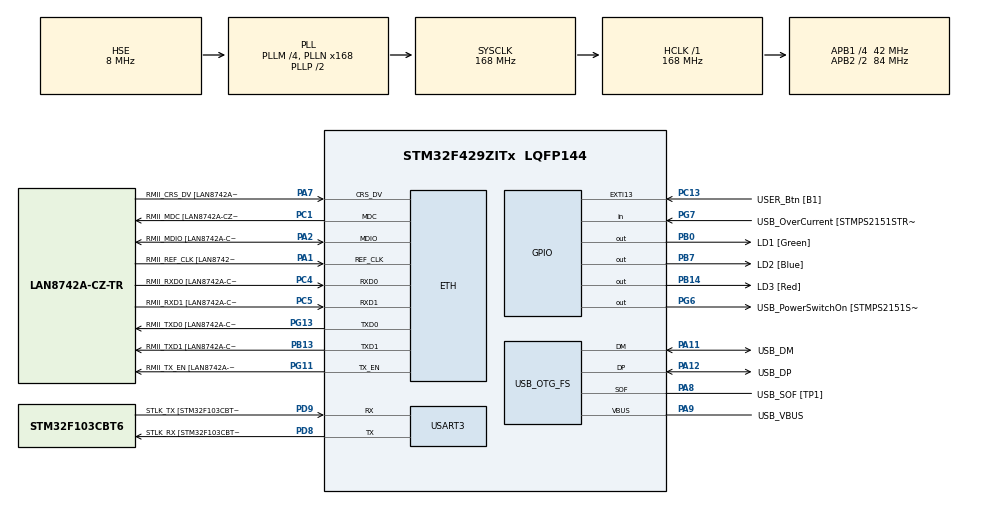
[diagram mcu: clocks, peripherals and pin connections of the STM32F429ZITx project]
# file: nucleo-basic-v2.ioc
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ETH.MACAddr=B0\:41\:9B\:F3\:1D\:7E
ETH.MediaInterface=ETH_MEDIA_INTERFACE_RMII
ETH.PHY_Name=LAN8742A_PHY_ADDRESS
ETH.PHY_Value=0
ETH.PhyAddress=0
FATFS._MAX_LFN=32
FATFS._STRF_ENCODE=0
FATFS._USE_LFN=2
FREERTOS.Tasks01=defaultTask,0,2048,StartDefaultTask,Default,NULL,Dynamic,NULL,NULL
FREERTOS.configTOTAL_HEAP_SIZE=32768
FREERTOS.configUSE_NEWLIB_REENTRANT=1
LWIP.Version=v2.1.2_Cube
Mcu.Family=STM32F4
Mcu.Name=STM32F429ZITx
Mcu.Package=LQFP144
NVIC.ETH_IRQn=true\:5\:0\:false\:false\:true\:true\:false\:true
NVIC.OTG_FS_IRQn=true\:5\:0\:false\:false\:true\:true\:false\:true
NVIC.PriorityGroup=NVIC_PRIORITYGROUP_4
NVIC.TIM6_DAC_IRQn=true\:15\:0\:false\:false\:true\:false\:false\:true
NVIC.TimeBase=TIM6_DAC_IRQn
NVIC.TimeBaseIP=TIM6
PA1.GPIO_Label=RMII_REF_CLK [LAN8742A-CZ-TR_REFCLK0]
PA1.Mode=RMII
PA1.Signal=ETH_REF_CLK
PA10.GPIO_Label=USB_ID
PA10.Signal=USB_OTG_FS_ID
PA11.GPIO_Label=USB_DM
PA11.Mode=Host_Only
PA11.Signal=USB_OTG_FS_DM
PA12.GPIO_Label=USB_DP
PA12.Mode=Host_Only
PA12.Signal=USB_OTG_FS_DP
PA13.GPIO_Label=TMS
PA13.Mode=Serial_Wire
PA13.Signal=SYS_JTMS-SWDIO
PA14.GPIO_Label=TCK
PA14.Mode=Serial_Wire
PA14.Signal=SYS_JTCK-SWCLK
PA2.GPIO_Label=RMII_MDIO [LAN8742A-CZ-TR_MDIO]
PA2.Mode=RMII
PA2.Signal=ETH_MDIO
PA7.GPIO_Label=RMII_CRS_DV [LAN8742A-CZ-TR_CRS_DV]
PA7.Mode=RMII
PA7.Signal=ETH_CRS_DV
PA8.GPIO_Label=USB_SOF [TP1]
PA8.Mode=Activate_SOF_FS
PA8.Signal=USB_OTG_FS_SOF
PA9.GPIO_Label=USB_VBUS
PA9.Mode=Activate_VBUS
PA9.Signal=USB_OTG_FS_VBUS
PB0.GPIO_Label=LD1 [Green]
PB0.Signal=GPIO_Output
PB13.GPIO_Label=RMII_TXD1 [LAN8742A-CZ-TR_TXD1]
PB13.Mode=RMII
PB13.Signal=ETH_TXD1
PB14.GPIO_Label=LD3 [Red]
PB14.Signal=GPIO_Output
PB7.GPIO_Label=LD2 [Blue]
PB7.Signal=GPIO_Output
PC1.GPIO_Label=RMII_MDC [LAN8742A-CZ-TR_MDC]
PC1.Mode=RMII
PC1.Signal=ETH_MDC
PC13.GPIO_Label=USER_Btn [B1]
PC13.Signal=GPXTI13
PC14/OSC32_IN.Mode=LSE-External-Oscillator
PC14/OSC32_IN.Signal=RCC_OSC32_IN
PC15/OSC32_OUT.Mode=LSE-External-Oscillator
PC15/OSC32_OUT.Signal=RCC_OSC32_OUT
PC4.GPIO_Label=RMII_RXD0 [LAN8742A-CZ-TR_RXD0]
PC4.Mode=RMII
PC4.Signal=ETH_RXD0
PC5.GPIO_Label=RMII_RXD1 [LAN8742A-CZ-TR_RXD1]
PC5.Mode=RMII
PC5.Signal=ETH_RXD1
PD8.GPIO_Label=STLK_RX [STM32F103CBT6_PA3]
PD8.Mode=Asynchronous
PD8.Signal=USART3_TX
PD9.GPIO_Label=STLK_TX [STM32F103CBT6_PA2]
PD9.Mode=Asynchronous
PD9.Signal=USART3_RX
PG11.GPIO_Label=RMII_TX_EN [LAN8742A-CZ-TR_TXEN]
PG11.Mode=RMII
PG11.Signal=ETH_TX_EN
PG13.GPIO_Label=RMII_TXD0 [LAN8742A-CZ-TR_TXD0]
PG13.Mode=RMII
PG13.Signal=ETH_TXD0
PG6.GPIO_Label=USB_PowerSwitchOn [STMPS2151STR_EN]
PG6.Signal=GPIO_Output
PG7.GPIO_Label=USB_OverCurrent [STMPS2151STR_FAULT]
PG7.Signal=GPIO_Input
PH0/OSC_IN.GPIO_Label=MCO [STM32F103CBT6_PA8]
PH0/OSC_IN.Mode=HSE-External-Clock-Source
PH0/OSC_IN.Signal=RCC_OSC_IN
PH1/OSC_OUT.Mode=HSE-External-Clock-Source
PH1/OSC_OUT.Signal=RCC_OSC_OUT
ProjectManager.HeapSize=0x200
ProjectManager.StackSize=0x400
ProjectManager.TargetToolchain=STM32CubeIDE
RCC.48MHZClocksFreq_Value=48000000
RCC.AHBFreq_Value=168000000
RCC.APB1CLKDivider=RCC_HCLK_DIV4
RCC.APB1Freq_Value=42000000
RCC.APB1TimFreq_Value=84000000
RCC.APB2CLKDivider=RCC_HCLK_DIV2
RCC.APB2Freq_Value=84000000
RCC.APB2TimCLKDivider=2
RCC.APB2TimFreq_Value=168000000
RCC.CortexFreq_Value=168000000
RCC.HCLKFreq_Value=168000000
RCC.HSE_VALUE=8000000
RCC.HSI_VALUE=16000000
RCC.PLLM=4
RCC.PLLMUL=RCC_PLL_MUL9
RCC.PLLN=168
RCC.PLLQ=7
RCC.PRESCALERUSB=RCC_USBCLKSOURCE_PLL_DIV1_5
RCC.SYSCLKFreq_VALUE=168000000
RCC.SYSCLKSource=RCC_SYSCLKSOURCE_PLLCLK
RCC.SYSCLKSourceVirtual=RCC_SYSCLKSOURCE_PLLCLK
RCC.USBFreq_Value=48000000
RCC.VCOOutputFreq_Value=336000000
USART3.VirtualMode=VM_ASYNC
USB_HOST.BSP.number=1
USB_HOST.USBH_DEBUG_LEVEL-MSC_FS=3
USB_HOST.USBH_HandleTypeDef-MSC_FS=hUsbHostFS
USB_HOST.VirtualModeFS=Msc
USB_HOST0.BSP.STBoard=false
USB_HOST0.BSP.api=Unknown
USB_HOST0.BSP.i2caddr=0
USB_HOST0.BSP.instance=PG6
USB_HOST0.BSP.ip=GPIO
USB_HOST0.BSP.mode=Output
USB_HOST0.BSP.name=Drive_VBUS_FS
USB_HOST0.BSP.solution=PG6
USB_OTG_FS.VirtualMode=Host_Only
USB_OTG_FS.phy_itface=HCD_PHY_EMBEDDED
VP_FATFS_VS_USB.Mode=USB
VP_FREERTOS_VS_CMSIS_V1.Mode=CMSIS_V1
VP_LWIP_VS_Enabled.Mode=Enabled
VP_SYS_VS_tim6.Mode=TIM6
VP_USB_HOST_VS_USB_HOST_MSC_FS.Mode=MSC_FS
board=NUCLEO-F429ZI

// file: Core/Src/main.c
/* USER CODE BEGIN Header */
/**
  ******************************************************************************
  * @file           : main.c
  * @brief          : Main program body
  ******************************************************************************
  * @attention
  *
  * <h2><center>&copy; Copyright (c) 2021 STMicroelectronics.
  * All rights reserved.</center></h2>
  *
  * This software component is licensed by ST under Ultimate Liberty license
  * SLA0044, the "License"; You may not use this file except in compliance with
  * the License. You may obtain a copy of the License at:
  *                             www.st.com/SLA0044
  *
  ******************************************************************************
  */
/* USER CODE END Header */
#include "main.h"
#include "cmsis_os.h"
#include "fatfs.h"
#include "lwip.h"
#include "usb_host.h"
#include "usb_host.h"

/* USER CODE BEGIN Includes */
#include "dbgu.h"
#include "term_io.h"
#include "ansi.h"
//#include "usbh_platform.h"
/* USER CODE END Includes */

UART_HandleTypeDef huart3;

osThreadId defaultTaskHandle;

void SystemClock_Config(void);
static void MX_GPIO_Init(void);
static void MX_USART3_UART_Init(void);
void StartDefaultTask(void const * argument);

/* USER CODE BEGIN 0 */
// 10.1 Modyfikacje w Src/main.c
extern ApplicationTypeDef Appli_state;

// Obserwacja zawartości rejestrów
int foo(int a, int b)
{
int c;
c=a+b;
return c;
}

/* USER CODE END 0 */

int main(void)
{

  /* MCU Configuration--------------------------------------------------------*/

  /* Reset of all peripherals, Initializes the Flash interface and the Systick. */
  HAL_Init();

  /* Configure the system clock */
  SystemClock_Config();

  /* Initialize all configured peripherals */
  MX_GPIO_Init();
  MX_USART3_UART_Init();
  MX_FATFS_Init();
  /* USER CODE BEGIN 2 */
  debug_init(&huart3);
  xprintf(ANSI_BG_BLUE "Nucleo-144 project" ANSI_BG_DEFAULT "\n");
  printf("Zwykly printf tez dziala\n");

// Obserwacja zawartości rejestrów
//   int a=10;
//   int b=25;
//   while(1)
//   {
//   xprintf("a=%d, b=%d\n",a,b);
//   int res = foo(a,b);
//   a++;
//   b--;
//   xprintf("res=%2d\n",res);
//   HAL_Delay(1000);
//   }
  // END OF Obserwacja zawartości rejestrów
  /* USER CODE END 2 */

  /* Create the thread(s) */
  /* definition and creation of defaultTask */
  osThreadDef(defaultTask, StartDefaultTask, osPriorityNormal, 0, 2048);
  defaultTaskHandle = osThreadCreate(osThread(defaultTask), NULL);

  /* Start scheduler */
  osKernelStart();

  /* We should never get here as control is now taken by the scheduler */
  /* Infinite loop */
  while (1)
  {

  }
}

void SystemClock_Config(void)
{
  RCC_OscInitTypeDef RCC_OscInitStruct = {0};
  RCC_ClkInitTypeDef RCC_ClkInitStruct = {0};

  /** Configure the main internal regulator output voltage
  */
  __HAL_RCC_PWR_CLK_ENABLE();
  __HAL_PWR_VOLTAGESCALING_CONFIG(PWR_REGULATOR_VOLTAGE_SCALE1);
  /** Initializes the RCC Oscillators according to the specified parameters
  * in the RCC_OscInitTypeDef structure.
  */
  RCC_OscInitStruct.OscillatorType = RCC_OSCILLATORTYPE_HSE;
  RCC_OscInitStruct.HSEState = RCC_HSE_BYPASS;
  RCC_OscInitStruct.PLL.PLLState = RCC_PLL_ON;
  RCC_OscInitStruct.PLL.PLLSource = RCC_PLLSOURCE_HSE;
  RCC_OscInitStruct.PLL.PLLM = 4;
  RCC_OscInitStruct.PLL.PLLN = 168;
  RCC_OscInitStruct.PLL.PLLP = RCC_PLLP_DIV2;
  RCC_OscInitStruct.PLL.PLLQ = 7;
  if (HAL_RCC_OscConfig(&RCC_OscInitStruct) != HAL_OK)
  {
    Error_Handler();
  }
  /** Initializes the CPU, AHB and APB buses clocks
  */
  RCC_ClkInitStruct.ClockType = RCC_CLOCKTYPE_HCLK|RCC_CLOCKTYPE_SYSCLK
                              |RCC_CLOCKTYPE_PCLK1|RCC_CLOCKTYPE_PCLK2;
  RCC_ClkInitStruct.SYSCLKSource = RCC_SYSCLKSOURCE_PLLCLK;
  RCC_ClkInitStruct.AHBCLKDivider = RCC_SYSCLK_DIV1;
  RCC_ClkInitStruct.APB1CLKDivider = RCC_HCLK_DIV4;
  RCC_ClkInitStruct.APB2CLKDivider = RCC_HCLK_DIV2;

  if (HAL_RCC_ClockConfig(&RCC_ClkInitStruct, FLASH_LATENCY_5) != HAL_OK)
  {
    Error_Handler();
  }
}

static void MX_USART3_UART_Init(void)
{

  huart3.Instance = USART3;
  huart3.Init.BaudRate = 115200;
  huart3.Init.WordLength = UART_WORDLENGTH_8B;
  huart3.Init.StopBits = UART_STOPBITS_1;
  huart3.Init.Parity = UART_PARITY_NONE;
  huart3.Init.Mode = UART_MODE_TX_RX;
  huart3.Init.HwFlowCtl = UART_HWCONTROL_NONE;
  huart3.Init.OverSampling = UART_OVERSAMPLING_16;
  if (HAL_UART_Init(&huart3) != HAL_OK)
  {
    Error_Handler();
  }

}

static void MX_GPIO_Init(void)
{
  GPIO_InitTypeDef GPIO_InitStruct = {0};

  /* GPIO Ports Clock Enable */
  __HAL_RCC_GPIOC_CLK_ENABLE();
  __HAL_RCC_GPIOH_CLK_ENABLE();
  __HAL_RCC_GPIOA_CLK_ENABLE();
  __HAL_RCC_GPIOB_CLK_ENABLE();
  __HAL_RCC_GPIOD_CLK_ENABLE();
  __HAL_RCC_GPIOG_CLK_ENABLE();

  /*Configure GPIO pin Output Level */
  HAL_GPIO_WritePin(GPIOB, LD1_Pin|LD3_Pin|LD2_Pin, GPIO_PIN_RESET);

  /*Configure GPIO pin Output Level */
  HAL_GPIO_WritePin(USB_PowerSwitchOn_GPIO_Port, USB_PowerSwitchOn_Pin, GPIO_PIN_RESET);

  /*Configure GPIO pin : USER_Btn_Pin */
  GPIO_InitStruct.Pin = USER_Btn_Pin;
  GPIO_InitStruct.Mode = GPIO_MODE_IT_RISING;
  GPIO_InitStruct.Pull = GPIO_NOPULL;
  HAL_GPIO_Init(USER_Btn_GPIO_Port, &GPIO_InitStruct);

  /*Configure GPIO pins : LD1_Pin LD3_Pin LD2_Pin */
  GPIO_InitStruct.Pin = LD1_Pin|LD3_Pin|LD2_Pin;
  GPIO_InitStruct.Mode = GPIO_MODE_OUTPUT_PP;
  GPIO_InitStruct.Pull = GPIO_NOPULL;
  GPIO_InitStruct.Speed = GPIO_SPEED_FREQ_LOW;
  HAL_GPIO_Init(GPIOB, &GPIO_InitStruct);

  /*Configure GPIO pin : USB_PowerSwitchOn_Pin */
  GPIO_InitStruct.Pin = USB_PowerSwitchOn_Pin;
  GPIO_InitStruct.Mode = GPIO_MODE_OUTPUT_PP;
  GPIO_InitStruct.Pull = GPIO_NOPULL;
  GPIO_InitStruct.Speed = GPIO_SPEED_FREQ_LOW;
  HAL_GPIO_Init(USB_PowerSwitchOn_GPIO_Port, &GPIO_InitStruct);

  /*Configure GPIO pin : USB_OverCurrent_Pin */
  GPIO_InitStruct.Pin = USB_OverCurrent_Pin;
  GPIO_InitStruct.Mode = GPIO_MODE_INPUT;
  GPIO_InitStruct.Pull = GPIO_NOPULL;
  HAL_GPIO_Init(USB_OverCurrent_GPIO_Port, &GPIO_InitStruct);

}

void StartDefaultTask(void const * argument)
{
  /* init code for LWIP */
  MX_LWIP_Init();

  /* init code for USB_HOST */
  MX_USB_HOST_Init();
  /* USER CODE BEGIN 5 */

  // 10.1 Modyfikacje w Src/main.c
// MX_DriverVbusFS(0);   //wlacza zasilanie urzadzenia USB
// xprintf("waiting for USB device...");
//     do{
//     xprintf(".");
//     vTaskDelay(100);
//   }while(Appli_state != APPLICATION_READY);
//   xprintf("USB device ready!");

  /* Infinite loop */
//   for(;;)
//   {
//     osDelay(10);
//     char key = inkey();
//     switch(key)
//     {
// case 'w':
// {
//   xprintf("write test\n");
//   FRESULT res;
//   UINT bw;
//   FIL file;
//   const char* text = "Linijka tekstu!\n";
//   xprintf("f_open... ");
//   res = f_open(&file,"0:/test.txt",FA_WRITE|FA_OPEN_APPEND);
//   xprintf("res=%d\n",res);
//   if(res) break;
//   xprintf("f_write... ");
//   res = f_write(&file,text,strlen(text),&bw);
//   xprintf("res=%d, bw=%d\n",res,bw);
//   f_close(&file);
//   break;
// }

// case 'r':
// {
//   xprintf("read test!\n");
//   FIL file;
//   FRESULT res = f_open(&file,"0:/test.txt",FA_READ);
//   xprintf("f_open res=%d\n",res);
//   if(res) break;
//   const uint32_t BUF_SIZE = 64;
//   char buf[BUF_SIZE];
//   UINT br;
//   xprintf("reading file contents:\n");
//   do
//   {
// res = f_read(&file,buf,BUF_SIZE,&br);
// if((res == FR_OK) && (br))
// {
//   xprintf("chunk:\n");
//   debug_dump(buf,br);
// }
// else
// {
//   xprintf("f_read res=%d\n",res);
//   break;
// }
//   }while(br>0);
//   f_close(&file);
//   break;
// }

//     }
//   }

// END of Modyfikacje w Src/main.c

  /* Infinite loop */
  for(;;)
  {
// LED

//LD3 zmieni stan (toggle)
    HAL_GPIO_TogglePin(LD3_GPIO_Port,LD3_Pin);
    //LD2 wlaczona, czekamy 250 tickow i wylaczamy
    HAL_GPIO_WritePin(LD2_GPIO_Port,LD2_Pin,GPIO_PIN_SET);
          osDelay(250);
    HAL_GPIO_WritePin(LD2_GPIO_Port,LD2_Pin,GPIO_PIN_RESET);
          osDelay(250);
  }
  /* USER CODE END 5 */
}

void HAL_TIM_PeriodElapsedCallback(TIM_HandleTypeDef *htim)
{
  if (htim->Instance == TIM6) {
    HAL_IncTick();
  }
}

void Error_Handler(void)
{
  __disable_irq();
  while (1)
  {
  }
}

/************************ (C) COPYRIGHT STMicroelectronics *****END OF FILE****/
